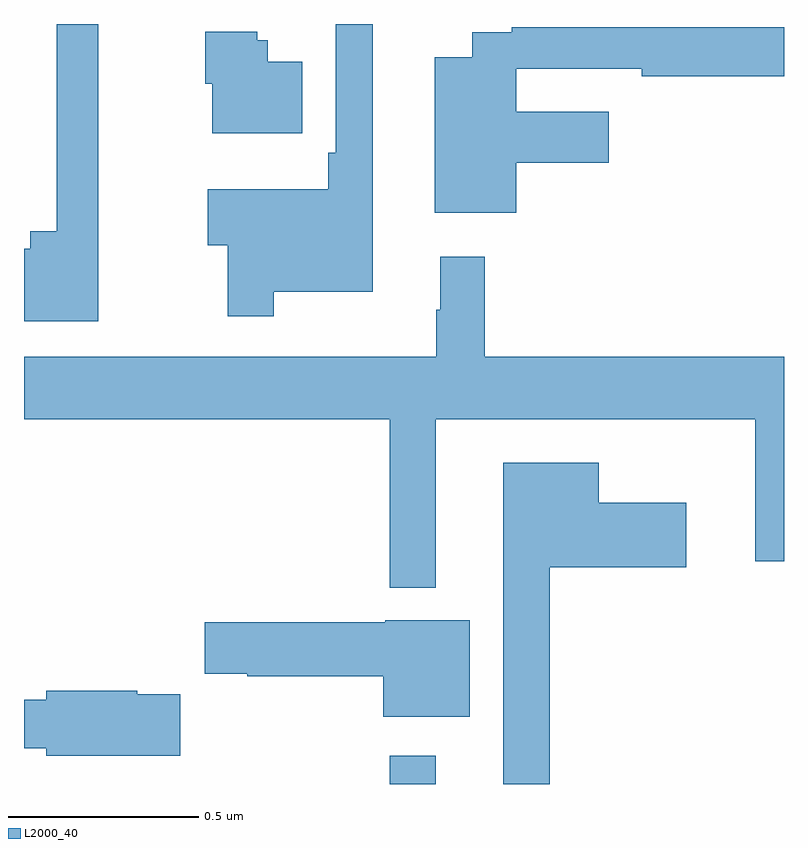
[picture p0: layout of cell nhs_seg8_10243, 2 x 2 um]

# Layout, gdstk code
import gdstk
lib = gdstk.Library(unit=1e-6, precision=1e-09)
def R(c, l, rs):  # rectangles x0, y0, x1, y1
    for r in rs: c.add(gdstk.rectangle(r[:2], r[2:], *l))
def P(c, l, *ps):  # polygons
    for p in ps: c.add(gdstk.Polygon(p, *l))
L2000_40 = (2000, 40)

nhs_seg8_10243 = lib.new_cell('nhs_seg8_10243')
R(nhs_seg8_10243, L2000_40, [(247.962,1088.9,248.083,1088.974)])
P(nhs_seg8_10243, L2000_40, [(247.657,1090.196),(247.918,1090.196),(247.918,1090.9),(247.821,1090.9),(247.821,1090.561),(247.801,1090.561),(247.801,1090.465),(247.484,1090.465),(247.484,1090.318),(247.536,1090.318),(247.536,1090.131),(247.657,1090.131)],
  [(247.195,1090.9),(247.086,1090.9),(247.086,1090.354),(247.016,1090.354),(247.016,1090.308),(247,1090.308),(247,1090.212),(247.001,1090.212),(247.001,1090.118),(247.195,1090.118)],
  [(248.296,1090.535),(248.539,1090.535),(248.539,1090.669),(248.296,1090.669),(248.296,1090.782),(248.626,1090.782),(248.626,1090.762),(249,1090.762),(249,1090.891),(248.284,1090.891),(248.284,1090.878),(248.18,1090.878),(248.18,1090.813),(248.081,1090.813),(248.081,1090.403),(248.296,1090.403)],
  [(247.732,1090.801),(247.642,1090.801),(247.642,1090.857),(247.614,1090.857),(247.614,1090.879),(247.477,1090.879),(247.477,1090.743),(247.496,1090.743),(247.496,1090.613),(247.732,1090.613)],
  [(248.083,1089.86),(248.924,1089.86),(248.924,1089.486),(249,1089.486),(249,1090.024),(248.213,1090.024),(248.213,1090.288),(248.096,1090.288),(248.096,1090.148),(248.085,1090.148),(248.085,1090.024),(247,1090.024),(247,1089.86),(247.962,1089.86),(247.962,1089.416),(248.083,1089.416)],
  [(248.383,1089.47),(248.743,1089.47),(248.743,1089.64),(248.512,1089.64),(248.512,1089.745),(248.261,1089.745),(248.261,1088.9),(248.383,1088.9)],
  [(248.173,1089.331),(247.95,1089.331),(247.95,1089.326),(247.476,1089.326),(247.476,1089.19),(247.588,1089.19),(247.588,1089.184),(247.946,1089.184),(247.946,1089.077),(248.173,1089.077)],
  [(247.411,1089.136),(247.298,1089.136),(247.298,1089.146),(247.058,1089.146),(247.058,1089.122),(247,1089.122),(247,1088.994),(247.058,1088.994),(247.058,1088.975),(247.411,1088.975)])

lib.write_gds('nhs_seg8_10243.gds')
